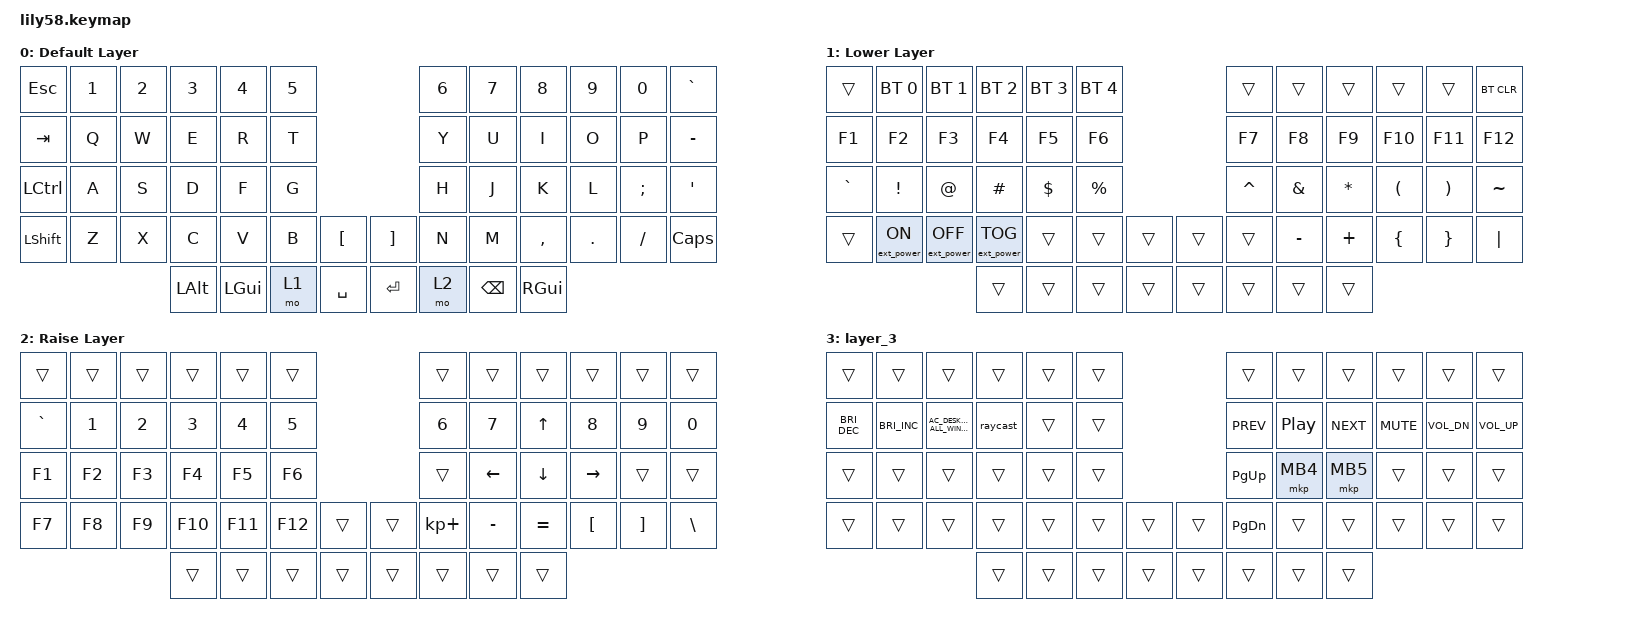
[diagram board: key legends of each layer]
/*
 * Copyright (c) 2020 The ZMK Contributors
 *
 * SPDX-License-Identifier: MIT
 */

#include <behaviors.dtsi>
#include <dt-bindings/zmk/bt.h>
#include <dt-bindings/zmk/ext_power.h>
#include <dt-bindings/zmk/keys.h>
#include <dt-bindings/zmk/pointing.h>

/ {
    combos { compatible = "zmk,combos"; };

    macros {
        raycast: raycast {
            compatible = "zmk,behavior-macro";
            #binding-cells = <0>;
            bindings = <&kp LEFT_ALT &kp SPACE>;
            label = "RAYCAST";
        };
    };

    keymap {
        compatible = "zmk,keymap";

        default_layer {
            display-name = "Default Layer";

            // ------------------------------------------------------------------------------------------------------------
            // |  ESC  |  1  |  2  |  3   |  4   |  5   |                   |  6   |  7    |  8    |  9   |   0   |   `   |
            // |  TAB  |  Q  |  W  |  E   |  R   |  T   |                   |  Y   |  U    |  I    |  O   |   P   |   -   |
            // |  CTRL |  A  |  S  |  D   |  F   |  G   |                   |  H   |  J    |  K    |  L   |   ;   |   '   |
            // | SHIFT |  Z  |  X  |  C   |  V   |  B   |   "["  |  |  "]"  |  N   |  M    |  ,    |  .   |   /   | SHIFT |
            //                     | ALT  | GUI  | LOWER|  SPACE |  | ENTER | RAISE| BSPC  | GUI   |

            bindings = <
&kp ESC    &kp N1  &kp N2  &kp N3    &kp N4    &kp N5                         &kp N6  &kp N7    &kp N8     &kp N9   &kp N0    &kp GRAVE
&kp TAB    &kp Q   &kp W   &kp E     &kp R     &kp T                          &kp Y   &kp U     &kp I      &kp O    &kp P     &kp MINUS
&kp LCTRL  &kp A   &kp S   &kp D     &kp F     &kp G                          &kp H   &kp J     &kp K      &kp L    &kp SEMI  &kp SQT
&kp LSHFT  &kp Z   &kp X   &kp C     &kp V     &kp B   &kp LBKT     &kp RBKT  &kp N   &kp M     &kp COMMA  &kp DOT  &kp FSLH  &kp CAPSLOCK
                           &kp LALT  &kp LGUI  &mo 1   &kp SPACE    &kp RET   &mo 2   &kp BSPC  &kp RGUI
            >;
        };

        lower_layer {
            display-name = "Lower Layer";

            // ------------------------------------------------------------------------------------------------------------
            // | BTCLR | BT1 | BT2 |  BT3 |  BT4 |  BT5 |                   |      |       |       |      |       |       |
            // |  F1   |  F2 |  F3 |  F4  |  F5  |  F6  |                   |  F7  |  F8   |  F9   |  F10 |  F11  |  F12  |
            // |   `   |  !  |  @  |  #   |  $   |  %   |                   |  ^   |  &    |  *    |  (   |   )   |   ~   |
            // |       |     |     |      |      |      |        |  |       |      |  _    |  +    |  {   |   }   |  "|"  |
            //                     |      |      |      |        |  |       |      |       |       |

            bindings = <
&trans     &bt BT_SEL 0      &bt BT_SEL 1       &bt BT_SEL 2       &bt BT_SEL 3  &bt BT_SEL 4                    &trans     &trans     &trans     &trans    &trans    &bt BT_CLR
&kp F1     &kp F2            &kp F3             &kp F4             &kp F5        &kp F6                          &kp F7     &kp F8     &kp F9     &kp F10   &kp F11   &kp F12
&kp GRAVE  &kp EXCL          &kp AT             &kp HASH           &kp DOLLAR    &kp PRCNT                       &kp CARET  &kp AMPS   &kp ASTRK  &kp LPAR  &kp RPAR  &kp TILDE
&trans     &ext_power EP_ON  &ext_power EP_OFF  &ext_power EP_TOG  &trans        &trans        &trans    &trans  &trans     &kp MINUS  &kp PLUS   &kp LBRC  &kp RBRC  &kp PIPE
                                                &trans             &trans        &trans        &trans    &trans  &trans     &trans     &trans
            >;
        };

        raise_layer {
            display-name = "Raise Layer";

            // ------------------------------------------------------------------------------------------------------------
            // |       |     |     |      |      |      |                   |      |       |       |      |       |       |
            // |   `   |  1  |  2  |  3   |  4   |  5   |                   |  6   |   7   |   8   |  9   |   0   |       |
            // |   F1  |  F2 |  F3 |  F4  |  F5  |  F6  |                   |      |   <-  |   v   |  ^   |  ->   |       |
            // |   F7  |  F8 |  F9 |  F10 |  F11 |  F12 |        |  |       |  +   |   -   |   =   |  [   |   ]   |   \   |
            //                     |      |      |      |        |  |       |      |       |       |

            bindings = <
&trans     &trans  &trans  &trans   &trans   &trans                     &trans       &trans     &trans     &trans     &trans    &trans
&kp GRAVE  &kp N1  &kp N2  &kp N3   &kp N4   &kp N5                     &kp N6       &kp N7     &kp UP     &kp N8     &kp N9    &kp N0
&kp F1     &kp F2  &kp F3  &kp F4   &kp F5   &kp F6                     &trans       &kp LEFT   &kp DOWN   &kp RIGHT  &trans    &trans
&kp F7     &kp F8  &kp F9  &kp F10  &kp F11  &kp F12  &trans    &trans  &kp KP_PLUS  &kp MINUS  &kp EQUAL  &kp LBKT   &kp RBKT  &kp BSLH
                           &trans   &trans   &trans   &trans    &trans  &trans       &trans     &trans
            >;
        };

        layer_3 {
            bindings = <
&trans                &trans                &trans                             &trans    &trans  &trans                    &trans         &trans            &trans      &trans      &trans        &trans
&kp C_BRIGHTNESS_DEC  &kp C_BRIGHTNESS_INC  &kp C_AC_DESKTOP_SHOW_ALL_WINDOWS  &raycast  &trans  &trans                    &kp C_PREV     &kp C_PLAY_PAUSE  &kp C_NEXT  &kp C_MUTE  &kp C_VOL_DN  &kp C_VOLUME_UP
&trans                &trans                &trans                             &trans    &trans  &trans                    &kp PAGE_UP    &mkp MB4          &mkp MB5    &trans      &trans        &trans
&trans                &trans                &trans                             &trans    &trans  &trans  &trans    &trans  &kp PAGE_DOWN  &trans            &trans      &trans      &trans        &trans
                                                                               &trans    &trans  &trans  &trans    &trans  &trans         &trans            &trans
            >;
        };
    };

    conditional_layers {
        compatible = "zmk,conditional-layers";

        layer3 {
            if-layers = <1 2>;
            then-layer = <3>;
        };
    };
};
